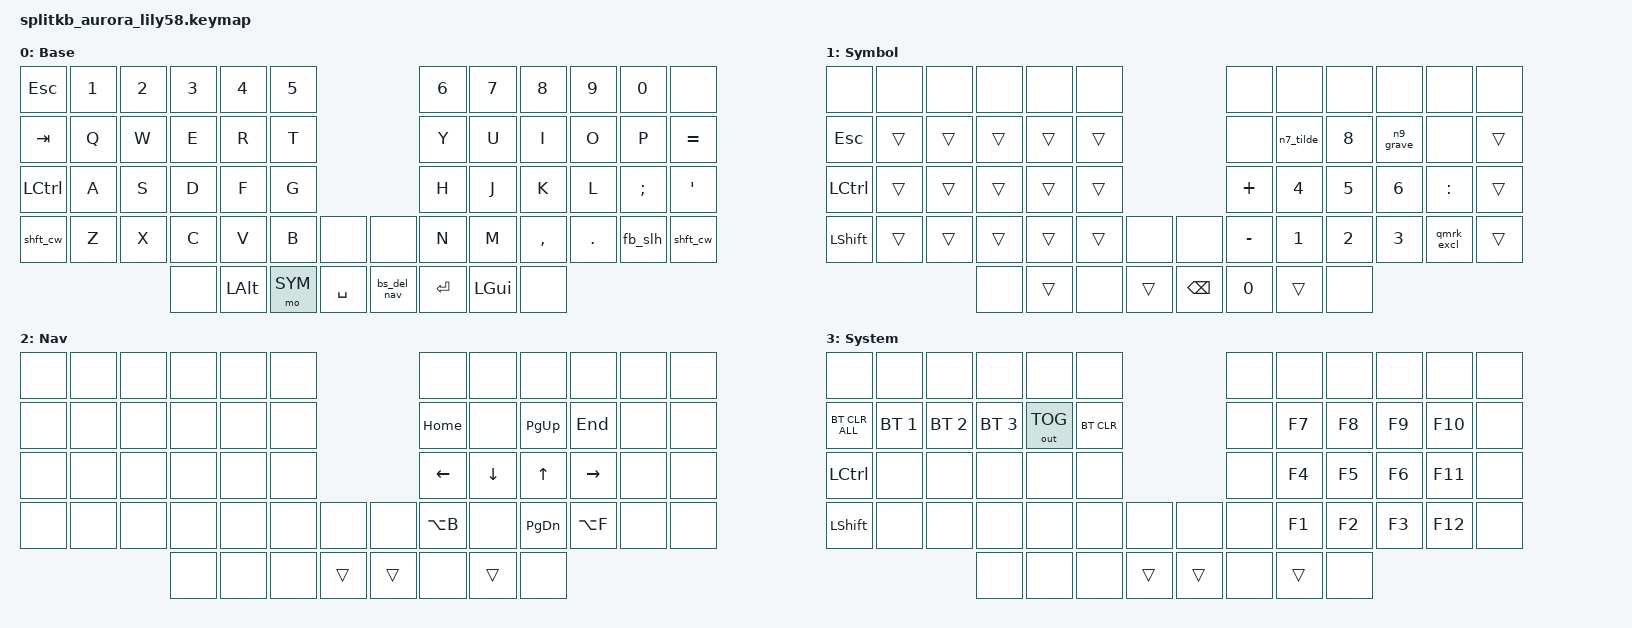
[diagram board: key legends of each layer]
/*
 * Copyright (c) 2022 The ZMK Contributors
 *
 * SPDX-License-Identifier: MIT
 */

#include <behaviors.dtsi>
#include <dt-bindings/zmk/keys.h>
#include <dt-bindings/zmk/bt.h>
#include <dt-bindings/zmk/ext_power.h>
#include <dt-bindings/zmk/outputs.h>

#define BSE 0
#define SYM 1
#define NAV 2
#define SYS 3

// requires layer aliases
#include "macro.dtsi"
#include "behav.dtsi"
#include "combo.dtsi"

#define ___ &none
#define vvv &trans

/ {
  keymap {
    compatible = "zmk,keymap";

    base {
      display-name = "Base";
      bindings = <
        // ╭─────────────┬─────────────┬─────────────┬─────────────┬─────────────┬─────────────╮                                ╭─────────────┬─────────────┬─────────────┬─────────────┬─────────────┬─────────────╮
             &kp ESC       &kp N1        &kp N2        &kp N3        &kp N4        &kp N5                                         &kp N6        &kp N7        &kp N8        &kp N9        &kp N0        ___  
        // ├─────────────┼─────────────┼─────────────┼─────────────┼─────────────┼─────────────┤                                ├─────────────┼─────────────┼─────────────┼─────────────┼─────────────┼─────────────┤
             &kp TAB       &kp Q         &kp W         &kp E         &kp R         &kp T                                          &kp Y         &kp U         &kp I         &kp O         &kp P         &kp EQUAL
        // ├─────────────┼─────────────┼─────────────┼─────────────┼─────────────┼─────────────┤                                ├─────────────┼─────────────┼─────────────┼─────────────┼─────────────┼─────────────┤
             &kp LCTRL     &kp A         &kp S         &kp D         &kp F         &kp G                                          &kp H         &kp J         &kp K         &kp L         &kp SEMI      &kp APOS
        // ├─────────────┼─────────────┼─────────────┼─────────────┼─────────────┼─────────────┼─────────────╮    ╭─────────────┼─────────────┼─────────────┼─────────────┼─────────────┼─────────────┼─────────────┤
             &shft_cw      &kp Z         &kp X         &kp C         &kp V         &kp B         ___                ___           &kp N         &kp M         &kp COMMA     &kp DOT       &fb_slh       &shft_cw
        // ╰─────────────┼─────────────┼─────────────┼─────────────┼─────────────┼─────────────┼─────────────┤    ├─────────────┼─────────────┼─────────────┼─────────────┼─────────────┼─────────────┼─────────────┤
                                                       ___           &kp LALT      &mo SYM       &kp SPACE          &bs_del_nav   &kp RET       &kp LGUI      ___
        //                                           ╰─────────────┴─────────────┴─────────────┴─────────────╯    ╰─────────────┴─────────────┴─────────────┴─────────────╯
      >;
    };

    symbol {
      display-name = "Symbol";
      bindings =  <
        // ╭─────────────┬─────────────┬─────────────┬─────────────┬─────────────┬─────────────╮                                ╭─────────────┬─────────────┬─────────────┬─────────────┬─────────────┬─────────────╮
             ___           ___           ___           ___           ___           ___                                            ___           ___           ___           ___           ___           ___  
        // ├─────────────┼─────────────┼─────────────┼─────────────┼─────────────┼─────────────┤                                ├─────────────┼─────────────┼─────────────┼─────────────┼─────────────┼─────────────┤
             &kp ESC       vvv           vvv           vvv           vvv           vvv                                            ___           &n7_tilde     &kp N8        &n9_grave     ___           vvv
        // ├─────────────┼─────────────┼─────────────┼─────────────┼─────────────┼─────────────┤                                ├─────────────┼─────────────┼─────────────┼─────────────┼─────────────┼─────────────┤
             &kp LCTRL     vvv           vvv           vvv           vvv           vvv                                            &kp PLUS      &kp N4        &kp N5        &kp N6        &kp COLON     vvv
        // ├─────────────┼─────────────┼─────────────┼─────────────┼─────────────┼─────────────┼─────────────╮    ╭─────────────┼─────────────┼─────────────┼─────────────┼─────────────┼─────────────┼─────────────┤
             &kp LSHIFT    vvv           vvv           vvv           vvv           vvv           ___                ___           &kp MINUS     &kp N1        &kp N2        &kp N3        &qmrk_excl    vvv
        // ╰─────────────┼─────────────┼─────────────┼─────────────┼─────────────┼─────────────┼─────────────┤    ├─────────────┼─────────────┼─────────────┼─────────────┼─────────────┼─────────────┼─────────────┤
                                                       ___           vvv           ___           vvv                &kp BSPC      &kp N0        vvv           ___
        //                                           ╰─────────────┴─────────────┴─────────────┴─────────────╯    ╰─────────────┴─────────────┴─────────────┴─────────────╯
	  >;
    };

    navigation {
      display-name = "Nav";
      bindings = <
        // ╭─────────────┬─────────────┬─────────────┬─────────────┬─────────────┬─────────────╮                                ╭─────────────┬─────────────┬─────────────┬─────────────┬─────────────┬─────────────╮
             ___           ___           ___           ___           ___           ___                                            ___           ___           ___           ___           ___           ___  
        // ├─────────────┼─────────────┼─────────────┼─────────────┼─────────────┼─────────────┤                                ├─────────────┼─────────────┼─────────────┼─────────────┼─────────────┼─────────────┤
             ___           ___           ___           ___           ___           ___                                            &kp HOME      ___           &kp PG_UP     &kp END       ___           ___
        // ├─────────────┼─────────────┼─────────────┼─────────────┼─────────────┼─────────────┤                                ├─────────────┼─────────────┼─────────────┼─────────────┼─────────────┼─────────────┤
             ___           ___           ___           ___           ___           ___                                            &kp LEFT      &kp DOWN      &kp UP        &kp RIGHT     ___           ___
        // ├─────────────┼─────────────┼─────────────┼─────────────┼─────────────┼─────────────┼─────────────╮    ╭─────────────┼─────────────┼─────────────┼─────────────┼─────────────┼─────────────┼─────────────┤
             ___           ___           ___           ___           ___           ___           ___                ___           &kp LA(B)     ___           &kp PG_DN     &kp LA(F)     ___           ___
        // ╰─────────────┼─────────────┼─────────────┼─────────────┼─────────────┼─────────────┼─────────────┤    ├─────────────┼─────────────┼─────────────┼─────────────┼─────────────┼─────────────┼─────────────┤
                                                       ___           ___           ___           vvv                vvv           ___           vvv           ___
        //                                           ╰─────────────┴─────────────┴─────────────┴─────────────╯    ╰─────────────┴─────────────┴─────────────┴─────────────╯
      >;
    };

    system {
      display-name = "System";
      bindings = <
        // ╭─────────────┬─────────────┬─────────────┬─────────────┬─────────────┬─────────────╮                                ╭─────────────┬─────────────┬─────────────┬─────────────┬─────────────┬─────────────╮
             ___           ___           ___           ___           ___           ___                                            ___           ___           ___           ___           ___           ___  
        // ├─────────────┼─────────────┼─────────────┼─────────────┼─────────────┼─────────────┤                                ├─────────────┼─────────────┼─────────────┼─────────────┼─────────────┼─────────────┤
           &bt BT_CLR_ALL &bt BT_SEL 1  &bt BT_SEL 2  &bt BT_SEL 3  &out OUT_TOG   &bt BT_CLR                                     ___           &kp F7         &kp F8       &kp F9        &kp F10           ___
        // ├─────────────┼─────────────┼─────────────┼─────────────┼─────────────┼─────────────┤                                ├─────────────┼─────────────┼─────────────┼─────────────┼─────────────┼─────────────┤
             &kp LCTRL     ___           ___           ___           ___           ___                                            ___           &kp F4         &kp F5       &kp F6        &kp F11           ___
        // ├─────────────┼─────────────┼─────────────┼─────────────┼─────────────┼─────────────┼─────────────╮    ╭─────────────┼─────────────┼─────────────┼─────────────┼─────────────┼─────────────┼─────────────┤
             &kp LSHFT     ___           ___           ___           ___           ___           ___                ___           ___           &kp F1         &kp F2       &kp F3        &kp F12           ___
        // ╰─────────────┼─────────────┼─────────────┼─────────────┼─────────────┼─────────────┼─────────────┤    ├─────────────┼─────────────┼─────────────┼─────────────┼─────────────┼─────────────┼─────────────┤
                                                       ___           ___           ___           vvv                vvv           ___           vvv           ___
        //                                           ╰─────────────┴─────────────┴─────────────┴─────────────╯    ╰─────────────┴─────────────┴─────────────┴─────────────╯
      >;
    };
  };
};
